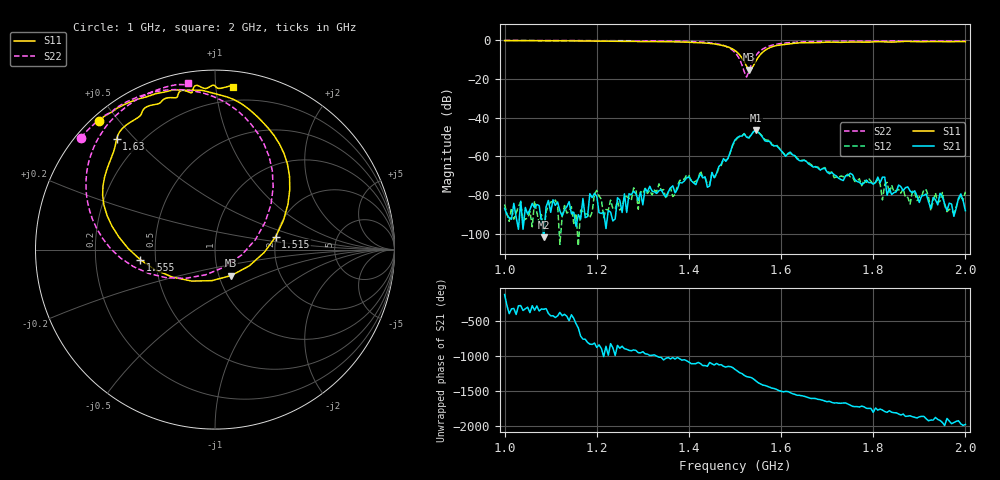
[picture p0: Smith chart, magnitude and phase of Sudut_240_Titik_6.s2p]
# Hz S RI R 50
! CMT, C1220, 16058040, 17.2.0/1
! Date: 14/08/2018 12:23:50
! Data: Format (Calibration Info)
! Freq  S11: Re/Im (F2)  S21: Re/Im (F2)  S12: Re/Im (F2)  S22: Re/Im (F2)
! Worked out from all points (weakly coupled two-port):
!   201 points, 1 GHz to 2 GHz, reference 50 ohm
!   highest |S21| = -46.44 dB at 1.545 GHz (marker M1); lowest = -101.8 dB at 1.085 GHz (marker M2)
!   lowest |S11| = -15.4 dB at 1.53 GHz (marker M3), VSWR 1.41, Z = 57.3 - j17.1 ohm
!   |S11| at or under -10 dB: 1.517 GHz to 1.548 GHz (30.63 MHz wide, 2 % of centre)
!   |S22| runs from -19.1 to -0.2 dB; largest |S21 - S12| = 0.00023
!   S11 on the Smith chart (normalised r, x): 1 GHz: 0.02, +0.44; 1.515 GHz: 1.99, +0.33; 1.555 GHz: 0.41, -0.06; 1.63 GHz: 0.12, +0.44; 2 GHz: 0.10, +1.11
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1e9  -0.6457 0.7159  -2.15e-05 -3.96e-05  5.49e-05 1.57e-05  -0.7479 0.6243
1.085e9  -0.5571 0.7789  6.99e-06 4.13e-06  3.89e-06 7.99e-06  -0.6867 0.6869
1.17e9  -0.4687 0.8239  6.58e-05 -4.78e-05  -3.29e-05 -1.76e-05  -0.6113 0.7487
1.32e9  -0.224 0.8904  -4.65e-06 0.000126  3.99e-05 9.17e-05  -0.4252 0.8524
1.335e9  -0.2029 0.8888  5.44e-05 0.000118  9.68e-05 0.000168  -0.3962 0.8622
1.37e9  -0.099 0.8885  8.97e-05 6.98e-05  4.84e-05 9.17e-05  -0.3159 0.8823
1.425e9  0.0819 0.8453  0.000315 -0.000154  0.000348 -0.000234  -0.1153 0.8827
1.445e9  0.162 0.8026  0.000168 -3.05e-05  0.00017 -6.55e-05  -0.00614 0.8514
1.5e9  0.4167 0.3355  -0.000881 -0.00248  -0.000854 -0.00231  0.3242 0.3489
1.515e9  0.3384 0.0721  -0.00327 -0.000621  -0.00327 -0.00074  0.2259 0.0565
1.53e9  0.0908 -0.1445  -0.00232 0.00189  -0.00233 0.00185  -0.0532 -0.1405
1.545e9  -0.2359 -0.1537  0.000128 0.00476  -8.15e-06 0.00471  -0.371 -0.1322
1.555e9  -0.4164 -0.0562  0.00264 0.00255  0.00254 0.00271  -0.5255 -0.0475
1.63e9  -0.5481 0.6165  -0.000303 -0.000993  -0.000298 -0.000966  -0.6857 0.5428
1.67e9  -0.4277 0.7365  -0.000505 -0.000143  -0.00053 -0.000134  -0.6181 0.6708
1.775e9  -0.2232 0.8458  1.67e-05 0.000186  2.56e-06 0.000173  -0.4546 0.8244
1.81e9  -0.1874 0.8866  0.000257 0.000133  0.000209 0.000139  -0.4045 0.8535
1.82e9  -0.1667 0.8859  0.000256 0.000136  5.49e-05 5.12e-05  -0.3908 0.8599
1.825e9  -0.1549 0.8821  0.000285 3.57e-05  0.000178 5.96e-05  -0.3842 0.8633
1.83e9  -0.1443 0.8773  9.9e-05 -6.48e-06  0.00021 -3.44e-05  -0.3776 0.8665
1.835e9  -0.1357 0.8736  0.000138 4.78e-05  0.000107 -3.17e-05  -0.371 0.8698
2e9  0.0977 0.9059  -3.92e-05 -1.24e-06  -0.000112 4.84e-05  -0.1486 0.9277
